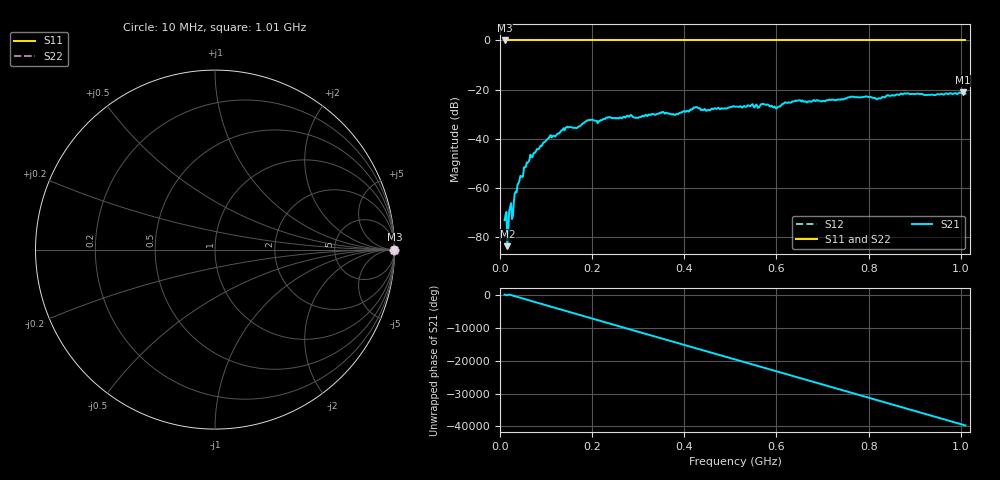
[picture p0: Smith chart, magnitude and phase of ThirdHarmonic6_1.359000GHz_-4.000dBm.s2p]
! 8/16/2025 3:20:00 PM
! C:\ANRITSUVNA\TEMP\TEMP.S2P
! CHANNEL.1
! TR.MEASUREMENT
! RAW.DATA
! RF.CORRECTION.OFF
! AVERAGING.OFF
! IF.BANDWIDTH: 5KHZ
! SWEEPTYPE:  FREQ.SWEEP(Linear)
! Reference Plane Port Info
! PORT:  PORT1  PORT2
! DISTANCE:  0  m  0  m
! TIME:  0  s  0  s
! PHASE.OFFSET:  0  deg.  0  deg.
! LOSS:  0  dB  0  dB
! REF.LOSS:  0  dB  0  dB
! REF.FREQ:  0  Hz  0  Hz
! Power Info
! POWER:  -20  dBm  -20  dBm
! EFF.POWER:  -20  dBm  -20  dBm
! SOURCE.ATTEN:  0  dB  0  dB
! TEST.ATTEN:  0  dB  0  dB
# GHZ S RI R 50.0
! FREQ.GHZ  S11RE  S11IM  S21RE  S21IM  S12RE  S12IM  S22RE  S22IM
!; PortSelection: Port_12
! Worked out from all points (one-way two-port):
!   501 points, 10 MHz to 1.01 GHz, reference 50 ohm
!   highest |S21| = -21.12 dB at 1.004 GHz (marker M1); lowest = -83.6 dB at 16 MHz (marker M2)
!   lowest |S11| = 0.0 dB at 10 MHz (marker M3)
!   |S11| at or under -10 dB: nowhere
!   |S22| runs from 0.0 to 0.0 dB; largest |S21 - S12| = 1.1
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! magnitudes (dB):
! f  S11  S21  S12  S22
! 10 MHz  0.0  -73.0  0.0  0.0
! 14 MHz  0.0  -69.7  0.0  0.0
! 16 MHz  0.0  -83.6  0.0  0.0
! 30 MHz  0.0  -65.7  0.0  0.0
! 34 MHz  0.0  -61.4  0.0  0.0
! 42 MHz  0.0  -57.2  0.0  0.0
! 70 MHz  0.0  -47.5  0.0  0.0
! 106 MHz  0.0  -39.7  0.0  0.0
! 146 MHz  0.0  -35.0  0.0  0.0
! 178 MHz  0.0  -34.1  0.0  0.0
! 194 MHz  0.0  -32.3  0.0  0.0
! 344 MHz  0.0  -29.8  0.0  0.0
! 382 MHz  0.0  -30.0  0.0  0.0
! 424 MHz  0.0  -27.2  0.0  0.0
! 510 MHz  0.0  -27.0  0.0  0.0
! 572 MHz  0.0  -25.8  0.0  0.0
! 602 MHz  0.0  -27.3  0.0  0.0
! 638 MHz  0.0  -24.8  0.0  0.0
! 678 MHz  0.0  -24.6  0.0  0.0
! 844 MHz  0.0  -22.5  0.0  0.0
! 1.004 GHz  0.0  -21.1  0.0  0.0
! 1.01 GHz  0.0  -21.7  0.0  0.0
